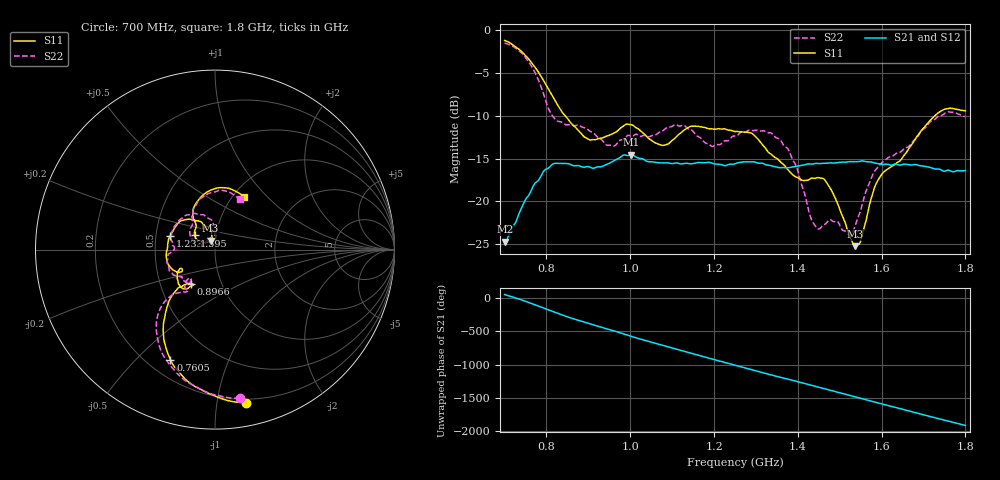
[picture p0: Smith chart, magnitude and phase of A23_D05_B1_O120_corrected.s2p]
! Created with skrf 1.9.0 (http://scikit-rf.org).
# Hz S RI R 50.0
!freq ReS11 ImS11 ReS21 ImS21 ReS12 ImS12 ReS22 ImS22
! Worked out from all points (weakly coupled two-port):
!   1601 points, 700 MHz to 1.8 GHz, reference 50 ohm
!   highest |S21| = -14.55 dB at 1.002 GHz (marker M1); lowest = -24.7 dB at 700.7 MHz (marker M2)
!   lowest |S11| = -25.2 dB at 1.537 GHz (marker M3), VSWR 1.12, Z = 47.3 + j4.64 ohm
!   |S11| at or under -10 dB: 844.4 MHz to 1.727 GHz (882.6 MHz wide, 68.6 % of centre)
!   |S22| runs from -24.0 to -1.5 dB; largest |S21 - S12| = 0.0035
!   S11 on the Smith chart (normalised r, x): 700 MHz: 0.17, -1.20; 760.5 MHz: 0.29, -0.63; 896.6 MHz: 0.71, -0.29; 1.233 GHz: 0.59, +0.10; 1.595 GHz: 0.79, +0.13; 1.8 GHz: 1.13, +0.75
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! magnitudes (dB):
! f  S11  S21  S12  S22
! 700 MHz  -1.2  -24.7  -24.5  -1.5
! 700.7 MHz  -1.2  -24.7  -24.4  -1.5
! 760.5 MHz  -3.6  -19.0  -18.9  -3.9
! 818.2 MHz  -8.0  -15.6  -15.7  -10.3
! 883.6 MHz  -12.1  -15.9  -15.8  -11.3
! 896.6 MHz  -12.6  -15.9  -16.0  -11.5
! 946.8 MHz  -12.3  -15.6  -15.6  -13.4
! 1.002 GHz  -11.0  -14.5  -14.7  -12.4
! 1.067 GHz  -13.3  -15.5  -15.4  -12.0
! 1.145 GHz  -11.2  -15.6  -15.6  -11.6
! 1.233 GHz  -11.7  -15.7  -15.7  -12.9
! 1.25 GHz  -11.8  -15.6  -15.5  -12.4
! 1.358 GHz  -15.4  -16.1  -16.0  -12.8
! 1.396 GHz  -17.2  -15.9  -15.9  -15.9
! 1.434 GHz  -17.3  -15.6  -15.6  -22.2
! 1.473 GHz  -18.1  -15.5  -15.5  -22.2
! 1.524 GHz  -24.1  -15.3  -15.4  -24.0
! 1.537 GHz  -25.2  -15.3  -15.4  -22.9
! 1.595 GHz  -17.2  -15.6  -15.6  -15.7
! 1.617 GHz  -16.1  -15.7  -15.7  -14.8
! 1.735 GHz  -9.7  -16.2  -16.3  -10.1
! 1.8 GHz  -9.4  -16.4  -16.4  -10.1
